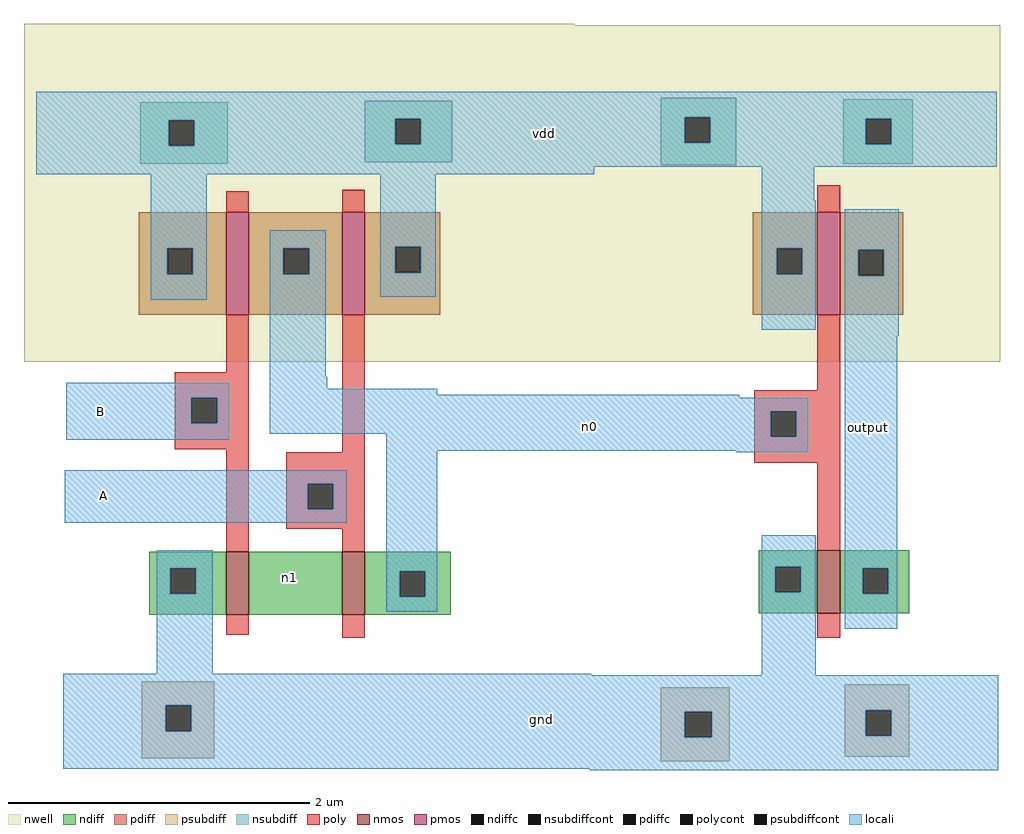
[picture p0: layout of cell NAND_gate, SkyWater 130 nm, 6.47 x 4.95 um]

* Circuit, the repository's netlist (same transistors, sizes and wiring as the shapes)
* NGSPICE file created from NAND_gate.ext - technology: sky130A


* Top level circuit NAND_gate

X0 vdd A n0 vdd sky130_fd_pr__pfet_01v8 ad=1.0268e+12p pd=7.1e+06u as=4.216e+11p ps=2.6e+06u w=680000u l=150000u
X1 n0 A n1 gnd sky130_fd_pr__nfet_01v8 ad=2.394e+11p pd=1.98e+06u as=2.604e+11p ps=2.08e+06u w=420000u l=150000u
X2 n1 B gnd gnd sky130_fd_pr__nfet_01v8 ad=0p pd=0u as=3.78e+11p ps=3.48e+06u w=420000u l=150000u
X3 output n0 vdd vdd sky130_fd_pr__pfet_01v8 ad=2.856e+11p pd=2.2e+06u as=0p ps=0u w=680000u l=150000u
X4 n0 B vdd vdd sky130_fd_pr__pfet_01v8 ad=0p pd=0u as=0p ps=0u w=680000u l=150000u
X5 output n0 gnd gnd sky130_fd_pr__nfet_01v8 ad=1.932e+11p pd=1.76e+06u as=0p ps=0u w=420000u l=150000u
.end

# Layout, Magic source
magic
tech sky130A
<< nwell >>
rect -526 206 -161 207
rect -526 -17 121 206
<< nmos >>
rect -392 -185 -377 -143
rect -315 -185 -300 -143
rect 0 -184 15 -142
<< pmos >>
rect -392 14 -377 82
rect -315 14 -300 82
rect 0 14 15 82
<< ndiff >>
rect -443 -154 -392 -143
rect -443 -171 -429 -154
rect -412 -171 -392 -154
rect -443 -185 -392 -171
rect -377 -185 -315 -143
rect -300 -156 -243 -143
rect -300 -173 -277 -156
rect -260 -173 -243 -156
rect -300 -185 -243 -173
rect -39 -153 0 -142
rect -39 -170 -28 -153
rect -11 -170 0 -153
rect -39 -184 0 -170
rect 15 -154 61 -142
rect 15 -171 30 -154
rect 47 -171 61 -154
rect 15 -184 61 -171
<< pdiff >>
rect -450 58 -392 82
rect -450 41 -431 58
rect -414 41 -392 58
rect -450 14 -392 41
rect -377 58 -315 82
rect -377 41 -354 58
rect -337 41 -315 58
rect -377 14 -315 41
rect -300 59 -250 82
rect -300 42 -280 59
rect -263 42 -250 59
rect -300 14 -250 42
rect -43 58 0 82
rect -43 41 -27 58
rect -10 41 0 58
rect -43 14 0 41
rect 15 57 57 82
rect 15 40 27 57
rect 44 40 57 57
rect 15 14 57 40
<< ndiffc >>
rect -429 -171 -412 -154
rect -277 -173 -260 -156
rect -28 -170 -11 -153
rect 30 -171 47 -154
<< pdiffc >>
rect -431 41 -414 58
rect -354 41 -337 58
rect -280 42 -263 59
rect -27 41 -10 58
rect 27 40 44 57
<< psubdiff >>
rect -448 -245 -400 -229
rect -448 -262 -432 -245
rect -415 -262 -400 -245
rect -448 -280 -400 -262
rect -104 -249 -58 -233
rect -104 -266 -88 -249
rect -70 -266 -58 -249
rect -104 -282 -58 -266
rect 18 -248 61 -231
rect 18 -265 32 -248
rect 49 -265 61 -248
rect 18 -279 61 -265
<< nsubdiff >>
rect -449 143 -391 155
rect -449 126 -430 143
rect -413 126 -391 143
rect -449 114 -391 126
rect -300 144 -242 156
rect -300 127 -280 144
rect -263 127 -242 144
rect -300 115 -242 127
rect -104 145 -54 158
rect -104 128 -88 145
rect -71 128 -54 145
rect -104 113 -54 128
rect 17 144 63 157
rect 17 127 32 144
rect 49 127 63 144
rect 17 114 63 127
<< psubdiffcont >>
rect -432 -262 -415 -245
rect -88 -266 -70 -249
rect 32 -265 49 -248
<< nsubdiffcont >>
rect -430 126 -413 143
rect -280 127 -263 144
rect -88 128 -71 145
rect 32 127 49 144
<< poly >>
rect -392 82 -377 96
rect -315 82 -300 97
rect 0 82 15 100
rect -392 -24 -377 14
rect -426 -41 -377 -24
rect -426 -58 -415 -41
rect -398 -58 -377 -41
rect -426 -75 -377 -58
rect -392 -143 -377 -75
rect -315 -77 -300 14
rect 0 -36 15 14
rect -352 -98 -300 -77
rect -42 -50 15 -36
rect -42 -67 -31 -50
rect -14 -67 15 -50
rect -42 -84 15 -67
rect -352 -115 -338 -98
rect -321 -115 -300 -98
rect -352 -128 -300 -115
rect -315 -143 -300 -128
rect 0 -142 15 -84
rect -392 -198 -377 -185
rect -315 -200 -300 -185
rect 0 -200 15 -184
<< polycont >>
rect -415 -58 -398 -41
rect -31 -67 -14 -50
rect -338 -115 -321 -98
<< locali >>
rect -518 145 119 162
rect -518 144 -88 145
rect -518 143 -280 144
rect -518 126 -430 143
rect -413 127 -280 143
rect -263 128 -88 144
rect -71 144 119 145
rect -71 128 32 144
rect -263 127 32 128
rect 49 127 119 144
rect -413 126 119 127
rect -518 112 119 126
rect -518 107 -148 112
rect -442 58 -405 107
rect -442 41 -431 58
rect -414 41 -405 58
rect -442 24 -405 41
rect -363 58 -326 70
rect -363 41 -354 58
rect -337 41 -326 58
rect -363 -27 -326 41
rect -290 59 -253 107
rect -290 42 -280 59
rect -263 42 -253 59
rect -290 26 -253 42
rect -37 90 -2 112
rect -37 58 -1 90
rect -37 41 -27 58
rect -10 41 -1 58
rect -37 4 -1 41
rect 18 57 54 84
rect 18 40 27 57
rect 44 40 54 57
rect 18 0 54 40
rect -498 -41 -390 -31
rect -498 -58 -415 -41
rect -398 -58 -390 -41
rect -498 -69 -390 -58
rect -363 -35 -325 -27
rect -363 -39 -252 -35
rect -363 -41 -52 -39
rect -363 -50 -6 -41
rect -363 -65 -31 -50
rect -286 -67 -31 -65
rect -14 -67 -6 -50
rect -286 -76 -6 -67
rect -499 -98 -312 -89
rect -499 -115 -338 -98
rect -321 -115 -312 -98
rect -499 -124 -312 -115
rect -438 -154 -401 -142
rect -438 -171 -429 -154
rect -412 -171 -401 -154
rect -438 -224 -401 -171
rect -286 -156 -252 -76
rect -54 -77 -6 -76
rect -286 -173 -277 -156
rect -260 -173 -252 -156
rect -286 -183 -252 -173
rect -37 -153 -1 -132
rect -37 -170 -28 -153
rect -11 -170 -1 -153
rect -500 -225 -150 -224
rect -37 -225 -1 -170
rect 18 -154 53 0
rect 18 -171 30 -154
rect 47 -171 53 -154
rect 18 -194 53 -171
rect -500 -245 120 -225
rect -500 -262 -432 -245
rect -415 -248 120 -245
rect -415 -249 32 -248
rect -415 -262 -88 -249
rect -500 -266 -88 -262
rect -70 -265 32 -249
rect 49 -265 120 -248
rect -70 -266 120 -265
rect -500 -287 120 -266
rect -151 -288 120 -287
<< labels >>
rlabel locali -183 -254 -183 -254 1 gnd
rlabel locali -181 134 -181 134 1 vdd
rlabel locali -473 -106 -473 -106 1 A
rlabel locali -475 -50 -475 -50 1 B
rlabel locali -151 -60 -151 -60 1 n0
rlabel locali 34 -61 34 -61 1 output
rlabel ndiff -350 -160 -350 -160 1 n1
<< end >>
